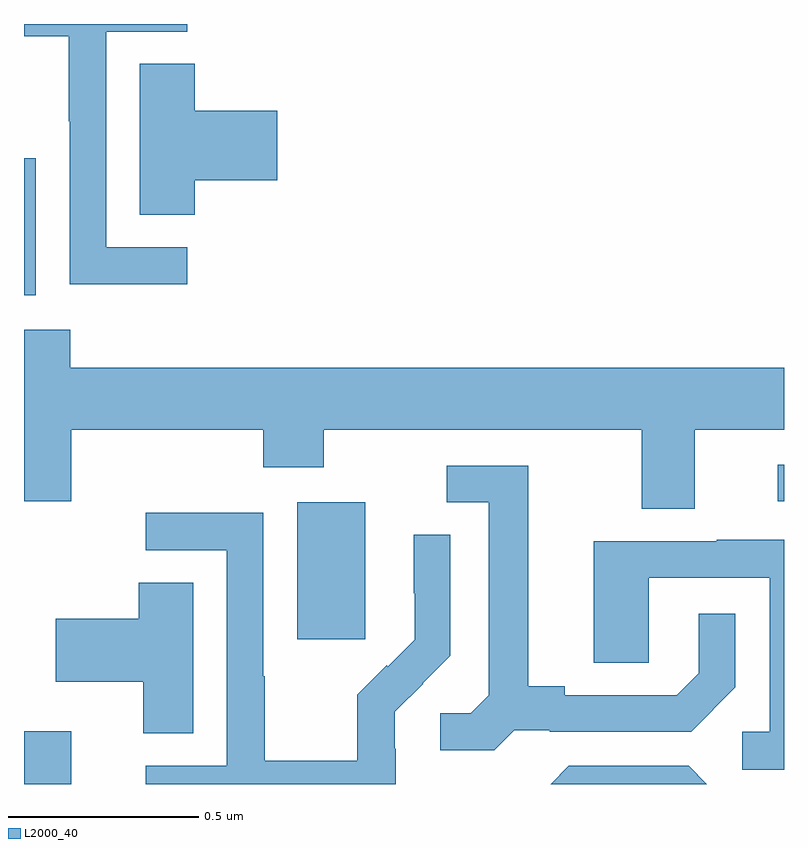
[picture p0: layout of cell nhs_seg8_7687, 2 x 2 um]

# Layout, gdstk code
import gdstk
lib = gdstk.Library(unit=1e-6, precision=1e-09)
def R(c, l, rs):  # rectangles x0, y0, x1, y1
    for r in rs: c.add(gdstk.rectangle(r[:2], r[2:], *l))
def P(c, l, *ps):  # polygons
    for p in ps: c.add(gdstk.Polygon(p, *l))
L2000_40 = (2000, 40)

nhs_seg8_7687 = lib.new_cell('nhs_seg8_7687')
R(nhs_seg8_7687, L2000_40, [(213,1116.9,213.124,1117.039), (213.719,1117.281,213.898,1117.642), (214.983,1117.644,215,1117.74), (213,1118.186,213.031,1118.547)])
P(nhs_seg8_7687, L2000_40, [(213.43,1118.313),(213.216,1118.313),(213.216,1118.88),(213.43,1118.88),(213.43,1118.9),(213,1118.9),(213,1118.868),(213.118,1118.868),(213.118,1118.644),(213.12,1118.644),(213.12,1118.215),(213.43,1118.215)],
  [(213.449,1118.489),(213.667,1118.489),(213.667,1118.672),(213.449,1118.672),(213.449,1118.795),(213.305,1118.795),(213.305,1118.398),(213.449,1118.398)],
  [(214.765,1117.832),(215,1117.832),(215,1117.996),(213.122,1117.996),(213.122,1118.095),(213,1118.095),(213,1117.644),(213.124,1117.644),(213.124,1117.832),(213.629,1117.832),(213.629,1117.733),(213.789,1117.733),(213.789,1117.832),(214.625,1117.832),(214.625,1117.624),(214.765,1117.624)],
  [(214.29,1117.041),(214.384,1117.041),(214.384,1117.038),(214.756,1117.038),(214.872,1117.154),(214.872,1117.348),(214.775,1117.348),(214.775,1117.191),(214.718,1117.134),(214.423,1117.134),(214.423,1117.157),(214.327,1117.157),(214.327,1117.737),(214.113,1117.737),(214.113,1117.641),(214.223,1117.641),(214.223,1117.133),(214.176,1117.086),(214.095,1117.086),(214.095,1116.989),(214.238,1116.989)],
  [(213.978,1116.993),(213.976,1116.993),(213.976,1117.09),(214.05,1117.164),(214.049,1117.165),(214.122,1117.238),(214.122,1117.556),(214.026,1117.556),(214.026,1117.402),(214.028,1117.402),(214.028,1117.28),(213.957,1117.209),(213.954,1117.212),(213.877,1117.135),(213.877,1116.961),(213.633,1116.961),(213.633,1117.184),(213.63,1117.184),(213.63,1117.614),(213.321,1117.614),(213.321,1117.515),(213.534,1117.515),(213.534,1116.948),(213.321,1116.948),(213.321,1116.9),(213.978,1116.9)],
  [(215,1117.543),(214.823,1117.543),(214.823,1117.539),(214.499,1117.539),(214.499,1117.219),(214.644,1117.219),(214.644,1117.443),(214.962,1117.443),(214.962,1117.038),(214.89,1117.038),(214.89,1116.937),(215,1116.937)],
  [(213.445,1117.43),(213.302,1117.43),(213.302,1117.335),(213.084,1117.335),(213.084,1117.169),(213.314,1117.169),(213.314,1117.033),(213.445,1117.033)],
  [(214.749,1116.948),(214.434,1116.948),(214.386,1116.9),(214.797,1116.9)])

lib.write_gds('nhs_seg8_7687.gds')
